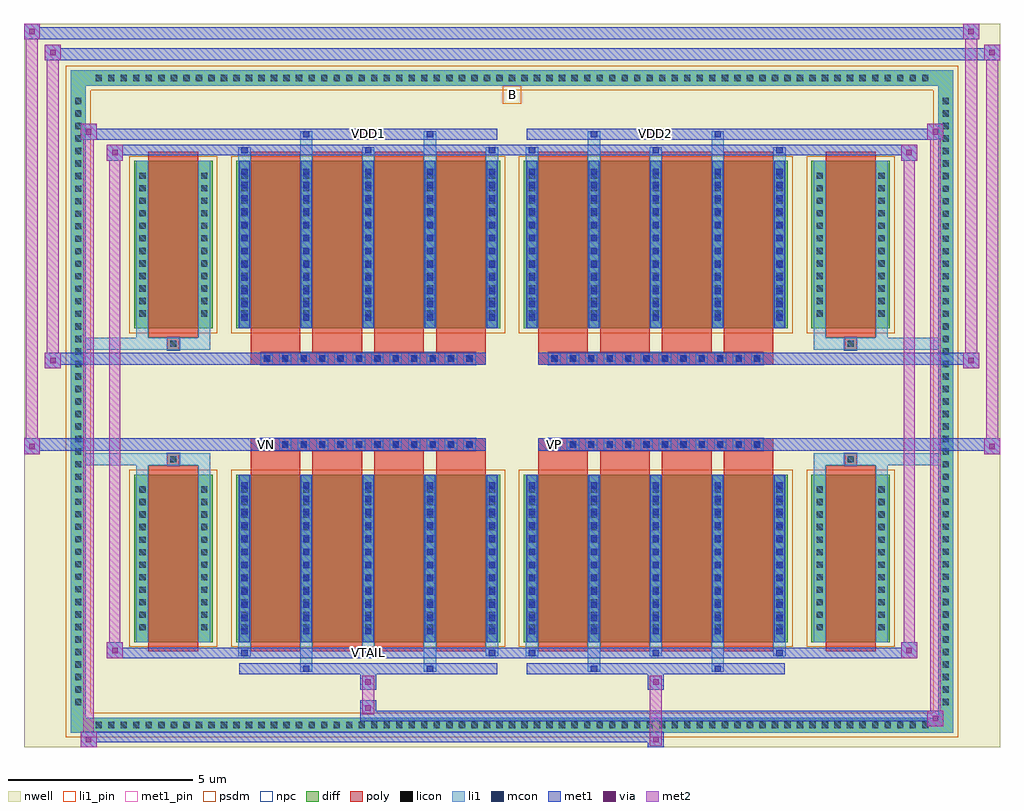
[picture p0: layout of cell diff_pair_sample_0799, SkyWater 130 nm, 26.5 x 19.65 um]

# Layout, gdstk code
import gdstk
lib = gdstk.Library(unit=1e-6, precision=5e-09)
def R(c, l, rs):  # rectangles x0, y0, x1, y1
    for r in rs: c.add(gdstk.rectangle(r[:2], r[2:], *l))
def A(c, l, x, y, w, h, nx, ny, dx, dy):  # array of equal rectangles
    R(c, l, [(x+i*dx, y+j*dy, x+i*dx+w, y+j*dy+h) for i in range(nx) for j in range(ny)])
def P(c, l, *ps):  # polygons
    for p in ps: c.add(gdstk.Polygon(p, *l))
nwell = (64, 20)
diff = (65, 20)
poly = (66, 20)
licon = (66, 44)
li1_pin = (67, 16)
li1 = (67, 20)
mcon = (67, 44)
met1_pin = (68, 16)
met1 = (68, 20)
via = (68, 44)
met2 = (69, 20)
psdm = (94, 20)
npc = (95, 20)

diff_pair_sample_0799 = lib.new_cell('diff_pair_sample_0799')
R(diff_pair_sample_0799, nwell, [(-13.25,-9.39,13.25,10.26), (-10.57,-7.58,-0.01,-0.8), (0.01,-7.58,10.57,-0.8), (-10.57,0.8,-0.01,7.58), (0.01,0.8,10.57,7.58)])
A(diff_pair_sample_0799, diff, -11.425, -8.99, 0.41, 0.41, 67, 2, 0.34, 17.57)
A(diff_pair_sample_0799, diff, -11.98, -8.365, 0.41, 0.41, 1, 49, 0, 0.34)
A(diff_pair_sample_0799, diff, 11.57, -8.365, 0.41, 0.41, 1, 49, 0, 0.34)
R(diff_pair_sample_0799, diff, [(-11.425,-8.99,11.425,-8.58), (-11.98,-8.365,-11.57,8.365), (11.57,-8.365,11.98,8.365), (-10.26,-6.535,-8.13,-1.985), (-7.49,-6.535,-0.32,-1.985), (0.32,-6.535,7.49,-1.985), (8.13,-6.535,10.26,-1.985), (-10.26,1.985,-8.13,6.535), (-7.49,1.985,-0.32,6.535), (0.32,1.985,7.49,6.535), (8.13,1.985,10.26,6.535), (-11.425,8.58,11.425,8.99)])
P(diff_pair_sample_0799, diff, [(11.98,8.99),(-11.98,8.99),(-11.98,-8.58),(-11.57,-8.58),(-11.57,8.58),(11.57,8.58),(11.57,-8.58),(-11.57,-8.58),(-11.98,-8.58),(-11.98,-8.99),(11.98,-8.99)])
A(diff_pair_sample_0799, poly, -7.1, -6.785, 1.35, 5.05, 4, 2, 1.68, 8.52)
A(diff_pair_sample_0799, poly, 0.71, -6.785, 1.35, 5.05, 4, 2, 1.68, 8.52)
A(diff_pair_sample_0799, poly, -7.1, -1.735, 1.35, 0.405, 4, 2, 1.68, 3.065)
A(diff_pair_sample_0799, poly, 0.71, -1.735, 1.35, 0.405, 4, 2, 1.68, 3.065)
A(diff_pair_sample_0799, poly, -6.82, -1.33, 0.33, 0.33, 12, 2, 0.5, 2.33)
A(diff_pair_sample_0799, poly, 0.99, -1.33, 0.33, 0.33, 12, 2, 0.5, 2.33)
R(diff_pair_sample_0799, poly, [(-9.87,-6.785,-8.52,-1.735), (8.52,-6.785,9.87,-1.735), (-9.36,-1.735,-9.03,-1.405), (-9.36,-1.735,-9.03,-1.405), (9.03,-1.735,9.36,-1.405), (9.03,-1.735,9.36,-1.405), (-7.1,-1.33,-0.71,-1), (0.71,-1.33,7.1,-1), (-7.1,1,-0.71,1.33), (0.71,1,7.1,1.33), (-9.36,1.405,-9.03,1.735), (-9.36,1.405,-9.03,1.735), (9.03,1.405,9.36,1.735), (9.03,1.405,9.36,1.735), (-9.87,1.735,-8.52,6.785), (8.52,1.735,9.87,6.785)])
A(diff_pair_sample_0799, licon, -11.305, -8.87, 0.17, 0.17, 67, 2, 0.34, 17.57)
A(diff_pair_sample_0799, licon, -11.86, -8.245, 0.17, 0.17, 1, 49, 0, 0.34)
A(diff_pair_sample_0799, licon, 11.69, -8.245, 0.17, 0.17, 1, 49, 0, 0.34)
A(diff_pair_sample_0799, licon, -10.12, -6.215, 0.17, 0.17, 1, 12, 0, 0.34)
A(diff_pair_sample_0799, licon, -8.44, -6.215, 0.17, 0.17, 1, 12, 0, 0.34)
A(diff_pair_sample_0799, licon, -7.35, -6.215, 0.17, 0.17, 5, 12, 1.68, 0.34)
A(diff_pair_sample_0799, licon, 0.46, -6.215, 0.17, 0.17, 5, 12, 1.68, 0.34)
A(diff_pair_sample_0799, licon, 8.27, -6.215, 0.17, 0.17, 1, 12, 0, 0.34)
A(diff_pair_sample_0799, licon, 9.95, -6.215, 0.17, 0.17, 1, 12, 0, 0.34)
A(diff_pair_sample_0799, licon, -6.74, -1.25, 0.17, 0.17, 12, 2, 0.5, 2.33)
A(diff_pair_sample_0799, licon, 1.07, -1.25, 0.17, 0.17, 12, 2, 0.5, 2.33)
A(diff_pair_sample_0799, licon, -10.12, 2.305, 0.17, 0.17, 1, 12, 0, 0.34)
A(diff_pair_sample_0799, licon, -8.44, 2.305, 0.17, 0.17, 1, 12, 0, 0.34)
A(diff_pair_sample_0799, licon, -7.35, 2.305, 0.17, 0.17, 5, 12, 1.68, 0.34)
A(diff_pair_sample_0799, licon, 0.46, 2.305, 0.17, 0.17, 5, 12, 1.68, 0.34)
A(diff_pair_sample_0799, licon, 8.27, 2.305, 0.17, 0.17, 1, 12, 0, 0.34)
A(diff_pair_sample_0799, licon, 9.95, 2.305, 0.17, 0.17, 1, 12, 0, 0.34)
R(diff_pair_sample_0799, licon, [(-9.28,-1.655,-9.11,-1.485), (9.11,-1.655,9.28,-1.485), (-9.28,1.485,-9.11,1.655), (9.11,1.485,9.28,1.655)])
R(diff_pair_sample_0799, li1_pin, [(-0.25,8.08,0.25,8.58)])
A(diff_pair_sample_0799, li1, -11.385, -8.95, 0.33, 0.33, 67, 2, 0.34, 17.57)
A(diff_pair_sample_0799, li1, -11.94, -8.325, 0.33, 0.33, 1, 49, 0, 0.34)
A(diff_pair_sample_0799, li1, 11.61, -8.325, 0.33, 0.33, 1, 49, 0, 0.34)
A(diff_pair_sample_0799, li1, -7.43, -6.91, 0.33, 0.375, 3, 2, 3.36, 13.445)
A(diff_pair_sample_0799, li1, -7.35, -6.91, 0.17, 0.17, 3, 2, 3.36, 13.65)
A(diff_pair_sample_0799, li1, 0.38, -6.91, 0.33, 0.375, 3, 2, 3.36, 13.445)
A(diff_pair_sample_0799, li1, 0.46, -6.91, 0.17, 0.17, 3, 2, 3.36, 13.65)
A(diff_pair_sample_0799, li1, -7.43, -6.535, 0.33, 4.55, 5, 2, 1.68, 8.52)
A(diff_pair_sample_0799, li1, 0.38, -6.535, 0.33, 4.55, 5, 2, 1.68, 8.52)
A(diff_pair_sample_0799, li1, -7.35, -6.325, 0.17, 0.17, 5, 12, 1.68, 0.36)
A(diff_pair_sample_0799, li1, -7.35, -6.325, 0.17, 4.13, 5, 2, 1.68, 8.52)
A(diff_pair_sample_0799, li1, 0.46, -6.325, 0.17, 0.17, 5, 12, 1.68, 0.36)
A(diff_pair_sample_0799, li1, 0.46, -6.325, 0.17, 4.13, 5, 2, 1.68, 8.52)
A(diff_pair_sample_0799, li1, -10.2, -6.295, 0.33, 0.33, 1, 12, 0, 0.34)
A(diff_pair_sample_0799, li1, -8.52, -6.295, 0.33, 0.33, 1, 12, 0, 0.34)
A(diff_pair_sample_0799, li1, -7.43, -6.295, 0.33, 0.33, 5, 12, 1.68, 0.34)
A(diff_pair_sample_0799, li1, 0.38, -6.295, 0.33, 0.33, 5, 12, 1.68, 0.34)
A(diff_pair_sample_0799, li1, 8.19, -6.295, 0.33, 0.33, 1, 12, 0, 0.34)
A(diff_pair_sample_0799, li1, 9.87, -6.295, 0.33, 0.33, 1, 12, 0, 0.34)
A(diff_pair_sample_0799, li1, -6.82, -1.33, 0.33, 0.33, 12, 2, 0.5, 2.33)
A(diff_pair_sample_0799, li1, 0.99, -1.33, 0.33, 0.33, 12, 2, 0.5, 2.33)
A(diff_pair_sample_0799, li1, -7.35, 2.195, 0.17, 0.17, 5, 12, 1.68, 0.36)
A(diff_pair_sample_0799, li1, 0.46, 2.195, 0.17, 0.17, 5, 12, 1.68, 0.36)
A(diff_pair_sample_0799, li1, -10.2, 2.225, 0.33, 0.33, 1, 12, 0, 0.34)
A(diff_pair_sample_0799, li1, -8.52, 2.225, 0.33, 0.33, 1, 12, 0, 0.34)
A(diff_pair_sample_0799, li1, -7.43, 2.225, 0.33, 0.33, 5, 12, 1.68, 0.34)
A(diff_pair_sample_0799, li1, 0.38, 2.225, 0.33, 0.33, 5, 12, 1.68, 0.34)
A(diff_pair_sample_0799, li1, 8.19, 2.225, 0.33, 0.33, 1, 12, 0, 0.34)
A(diff_pair_sample_0799, li1, 9.87, 2.225, 0.33, 0.33, 1, 12, 0, 0.34)
R(diff_pair_sample_0799, li1, [(-11.98,-8.99,-11.57,-8.58), (-11.98,-8.99,-11.57,-8.58), (-11.57,-8.99,11.57,-8.58), (11.57,-8.99,11.98,-8.58), (11.57,-8.99,11.98,-8.58), (-11.98,-8.58,-11.57,8.58), (11.57,-8.58,11.98,8.58), (-5.75,-7.34,-5.42,-6.535), (-5.67,-7.34,-5.5,-7.17), (-2.39,-7.34,-2.06,-6.535), (-2.31,-7.34,-2.14,-7.17), (2.06,-7.34,2.39,-6.535), (2.14,-7.34,2.31,-7.17), (5.42,-7.34,5.75,-6.535), (5.5,-7.34,5.67,-7.17), (-10.2,-6.535,-9.87,-1.985), (-8.52,-6.535,-8.19,-1.985), (8.19,-6.535,8.52,-1.985), (9.87,-6.535,10.2,-1.985), (-10.2,-1.985,-9.87,-1.405), (-8.52,-1.985,-8.19,-1.405), (8.19,-1.985,8.52,-1.405), (9.87,-1.985,10.2,-1.405), (-11.98,-1.735,-9.36,-1.405), (-10.2,-1.735,-9.36,-1.405), (-9.36,-1.735,-9.03,-1.405), (-9.03,-1.735,-8.19,-1.405), (8.19,-1.735,9.03,-1.405), (9.03,-1.735,9.36,-1.405), (9.03,-1.735,11.98,-1.405), (9.36,-1.735,10.2,-1.405), (-11.98,1.405,-9.36,1.735), (-10.2,1.405,-9.36,1.735), (-10.2,1.405,-9.87,1.985), (-9.36,1.405,-9.03,1.735), (-9.03,1.405,-8.19,1.735), (-8.52,1.405,-8.19,1.985), (8.19,1.405,9.03,1.735), (8.19,1.405,8.52,1.985), (9.03,1.405,9.36,1.735), (9.03,1.405,11.98,1.735), (9.36,1.405,10.2,1.735), (9.87,1.405,10.2,1.985), (-10.2,1.985,-9.87,6.535), (-8.52,1.985,-8.19,6.535), (8.19,1.985,8.52,6.535), (9.87,1.985,10.2,6.535), (-5.75,6.535,-5.42,7.34), (-2.39,6.535,-2.06,7.34), (2.06,6.535,2.39,7.34), (5.42,6.535,5.75,7.34), (-5.67,7.17,-5.5,7.34), (-2.31,7.17,-2.14,7.34), (2.14,7.17,2.31,7.34), (5.5,7.17,5.67,7.34), (-11.98,8.58,-11.57,8.99), (-11.98,8.58,-11.57,8.99), (-11.57,8.58,11.57,8.99), (11.57,8.58,11.98,8.99), (11.57,8.58,11.98,8.99)])
A(diff_pair_sample_0799, mcon, -7.35, -6.91, 0.17, 0.17, 3, 2, 3.36, 13.65)
A(diff_pair_sample_0799, mcon, 0.46, -6.91, 0.17, 0.17, 3, 2, 3.36, 13.65)
A(diff_pair_sample_0799, mcon, -7.35, -6.325, 0.17, 0.17, 5, 12, 1.68, 0.36)
A(diff_pair_sample_0799, mcon, 0.46, -6.325, 0.17, 0.17, 5, 12, 1.68, 0.36)
A(diff_pair_sample_0799, mcon, -6.74, -1.25, 0.17, 0.17, 12, 2, 0.5, 2.33)
A(diff_pair_sample_0799, mcon, 1.07, -1.25, 0.17, 0.17, 12, 2, 0.5, 2.33)
A(diff_pair_sample_0799, mcon, -7.35, 2.195, 0.17, 0.17, 5, 12, 1.68, 0.36)
A(diff_pair_sample_0799, mcon, 0.46, 2.195, 0.17, 0.17, 5, 12, 1.68, 0.36)
R(diff_pair_sample_0799, mcon, [(-5.67,-7.34,-5.5,-7.17), (-2.31,-7.34,-2.14,-7.17), (2.14,-7.34,2.31,-7.17), (5.5,-7.34,5.67,-7.17), (-5.67,7.17,-5.5,7.34), (-2.31,7.17,-2.14,7.34), (2.14,7.17,2.31,7.34), (5.5,7.17,5.67,7.34)])
R(diff_pair_sample_0799, met1_pin, [(-4.04,-6.95,-3.77,-6.68), (-6.79,-1.29,-6.52,-1.02), (1.02,-1.29,1.29,-1.02), (-4.04,7.13,-3.77,7.4), (3.77,7.13,4.04,7.4)])
A(diff_pair_sample_0799, met1, -7.41, -6.97, 0.29, 0.29, 3, 2, 3.36, 13.65)
A(diff_pair_sample_0799, met1, 0.4, -6.97, 0.29, 0.29, 3, 2, 3.36, 13.65)
A(diff_pair_sample_0799, met1, -7.41, -6.535, 0.29, 4.55, 5, 2, 1.68, 8.52)
A(diff_pair_sample_0799, met1, 0.4, -6.535, 0.29, 4.55, 5, 2, 1.68, 8.52)
A(diff_pair_sample_0799, met1, -7.41, -6.385, 0.29, 0.29, 5, 12, 1.68, 0.36)
A(diff_pair_sample_0799, met1, 0.4, -6.385, 0.29, 0.29, 5, 12, 1.68, 0.36)
A(diff_pair_sample_0799, met1, -6.8, -1.31, 0.29, 0.29, 12, 2, 0.5, 2.33)
A(diff_pair_sample_0799, met1, 1.01, -1.31, 0.29, 0.29, 12, 2, 0.5, 2.33)
A(diff_pair_sample_0799, met1, -7.41, 2.135, 0.29, 0.29, 5, 12, 1.68, 0.36)
A(diff_pair_sample_0799, met1, 0.4, 2.135, 0.29, 0.29, 5, 12, 1.68, 0.36)
R(diff_pair_sample_0799, met1, [(-11.71,-9.39,-11.28,-8.96), (3.69,-9.39,4.12,-8.96), (-11.71,-9.25,4.12,-8.96), (11.28,-8.82,11.71,-8.39), (-4.12,-8.68,11.71,-8.39), (-4.12,-8.54,-3.69,-8.11), (-4.12,-7.83,-3.69,-7.4), (3.69,-7.83,4.12,-7.4), (-7.41,-7.4,-0.4,-7.11), (-5.73,-7.4,-5.44,-7.11), (-2.37,-7.4,-2.08,-7.11), (0.4,-7.4,7.41,-7.11), (2.08,-7.4,2.37,-7.11), (5.44,-7.4,5.73,-7.11), (-11,-6.97,-10.57,-6.54), (-11,-6.97,-7.41,-6.68), (-7.41,-6.97,-0.4,-6.68), (-0.4,-6.97,0.4,-6.68), (0.4,-6.97,7.41,-6.68), (7.41,-6.97,11,-6.68), (10.57,-6.97,11,-6.54), (-13.25,-1.43,-12.82,-1), (12.82,-1.43,13.25,-1), (-13.25,-1.33,-0.71,-1), (-7.1,-1.33,-0.71,-1), (0.71,-1.33,7.1,-1), (0.71,-1.33,13.25,-1), (-12.68,0.9,-12.25,1.33), (12.25,0.9,12.68,1.33), (-12.68,1,-7.1,1.33), (-7.1,1,-0.71,1.33), (0.71,1,7.1,1.33), (7.1,1,12.68,1.33), (-11,6.54,-10.57,6.97), (10.57,6.54,11,6.97), (-11,6.68,-7.41,6.97), (-7.41,6.68,-0.4,6.97), (-0.4,6.68,0.4,6.97), (0.4,6.68,7.41,6.97), (7.41,6.68,11,6.97), (-11.71,7.11,-11.28,7.54), (-11.71,7.11,-7.41,7.4), (-7.41,7.11,-0.4,7.4), (-5.73,7.11,-5.44,7.4), (-2.37,7.11,-2.08,7.4), (0.4,7.11,7.41,7.4), (2.08,7.11,2.37,7.4), (5.44,7.11,5.73,7.4), (7.41,7.11,11.71,7.4), (11.28,7.11,11.71,7.54), (-12.68,9.26,-12.25,9.69), (-12.68,9.26,-10.57,9.59), (-10.57,9.26,10.57,9.59), (10.57,9.26,13.25,9.59), (12.82,9.26,13.25,9.69), (-13.25,9.83,-12.82,10.26), (-13.25,9.83,-10.57,10.16), (-10.57,9.83,10.57,10.16), (10.57,9.83,12.68,10.16), (12.25,9.83,12.68,10.26)])
R(diff_pair_sample_0799, via, [(-11.57,-9.25,-11.42,-9.1), (3.83,-9.25,3.98,-9.1), (11.42,-8.68,11.57,-8.53), (-3.98,-8.4,-3.83,-8.25), (-3.98,-7.69,-3.83,-7.54), (3.83,-7.69,3.98,-7.54), (-10.86,-6.83,-10.71,-6.68), (10.71,-6.83,10.86,-6.68), (-13.11,-1.29,-12.96,-1.14), (12.96,-1.29,13.11,-1.14), (-12.54,1.04,-12.39,1.19), (12.39,1.04,12.54,1.19), (-10.86,6.68,-10.71,6.83), (10.71,6.68,10.86,6.83), (-11.57,7.25,-11.42,7.4), (11.42,7.25,11.57,7.4), (-12.54,9.4,-12.39,9.55), (12.96,9.4,13.11,9.55), (-13.11,9.97,-12.96,10.12), (12.39,9.97,12.54,10.12)])
R(diff_pair_sample_0799, met2, [(-11.71,-9.39,-11.28,-8.96), (-11.64,-9.39,-11.35,7.54), (-11.35,-9.39,-11.28,-8.96), (-11.66,-9.34,-11.33,-9.01), (3.74,-9.34,4.07,-9.01), (3.74,-9.01,4.07,-7.78), (11.28,-8.82,11.71,-8.39), (11.35,-8.82,11.64,7.54), (11.64,-8.82,11.71,-8.39), (11.33,-8.77,11.66,-8.44), (-4.07,-8.49,-3.74,-8.16), (-4.07,-8.16,-3.74,-7.78), (-4.07,-7.78,-3.74,-7.45), (3.74,-7.78,4.07,-7.45), (-11,-6.97,-10.57,-6.54), (-10.93,-6.97,-10.64,6.97), (-10.64,-6.97,-10.57,-6.54), (10.57,-6.97,11,-6.54), (10.64,-6.97,10.93,6.97), (10.93,-6.97,11,-6.54), (-10.95,-6.92,-10.62,-6.59), (10.62,-6.92,10.95,-6.59), (-13.25,-1.43,-12.82,-1), (-13.2,-1.43,-12.87,10.26), (-12.87,-1.43,-12.82,-1), (12.82,-1.43,13.25,-1), (12.87,-1.43,13.2,9.69), (13.2,-1.43,13.25,-1), (-13.2,-1.38,-12.87,-1.05), (12.87,-1.38,13.2,-1.05), (-12.68,0.9,-12.25,1.33), (-12.63,0.9,-12.3,9.69), (-12.3,0.9,-12.25,1.33), (12.25,0.9,12.68,1.33), (12.3,0.9,12.63,10.26), (12.63,0.9,12.68,1.33), (-12.63,0.95,-12.3,1.28), (12.3,0.95,12.63,1.28), (-11,6.54,-10.57,6.97), (-10.64,6.54,-10.57,6.97), (10.57,6.54,11,6.97), (10.93,6.54,11,6.97), (-10.95,6.59,-10.62,6.92), (10.62,6.59,10.95,6.92), (-11.71,7.11,-11.28,7.54), (-11.35,7.11,-11.28,7.54), (11.28,7.11,11.71,7.54), (11.64,7.11,11.71,7.54), (-11.66,7.16,-11.33,7.49), (11.33,7.16,11.66,7.49), (-12.68,9.26,-12.25,9.69), (-12.3,9.26,-12.25,9.69), (12.82,9.26,13.25,9.69), (13.2,9.26,13.25,9.69), (-12.63,9.31,-12.3,9.64), (12.87,9.31,13.2,9.64), (-13.25,9.83,-12.82,10.26), (-12.87,9.83,-12.82,10.26), (12.25,9.83,12.68,10.26), (12.63,9.83,12.68,10.26), (-13.2,9.88,-12.87,10.21), (12.3,9.88,12.63,10.21)])
R(diff_pair_sample_0799, psdm, [(-10.39,-6.665,-8,-1.855), (-7.62,-6.665,-0.19,-1.855), (0.19,-6.665,7.62,-1.855), (8,-6.665,10.39,-1.855), (-10.39,1.855,-8,6.665), (-7.62,1.855,-0.19,6.665), (0.19,1.855,7.62,6.665), (8,1.855,10.39,6.665)])
P(diff_pair_sample_0799, psdm, [(12.11,9.12),(-12.11,9.12),(-12.11,-8.45),(-11.44,-8.45),(-11.44,8.45),(11.44,8.45),(11.44,-8.45),(-11.44,-8.45),(-12.11,-8.45),(-12.11,-9.12),(12.11,-9.12)])
A(diff_pair_sample_0799, npc, -6.84, -1.35, 0.37, 0.37, 12, 2, 0.5, 2.33)
A(diff_pair_sample_0799, npc, 0.97, -1.35, 0.37, 0.37, 12, 2, 0.5, 2.33)
R(diff_pair_sample_0799, npc, [(-9.38,-1.755,-9.01,-1.385), (9.01,-1.755,9.38,-1.385), (-6.84,-1.35,-5.97,-0.98), (-6.84,-1.35,-5.97,-0.98), (-6.34,-1.35,-5.47,-0.98), (-6.34,-1.35,-5.47,-0.98), (-5.84,-1.35,-4.97,-0.98), (-5.84,-1.35,-4.97,-0.98), (-5.34,-1.35,-4.47,-0.98), (-5.34,-1.35,-4.47,-0.98), (-4.84,-1.35,-3.97,-0.98), (-4.84,-1.35,-3.97,-0.98), (-4.34,-1.35,-3.47,-0.98), (-4.34,-1.35,-3.47,-0.98), (-3.84,-1.35,-2.97,-0.98), (-3.84,-1.35,-2.97,-0.98), (-3.34,-1.35,-2.47,-0.98), (-3.34,-1.35,-2.47,-0.98), (-2.84,-1.35,-1.97,-0.98), (-2.84,-1.35,-1.97,-0.98), (-2.34,-1.35,-1.47,-0.98), (-2.34,-1.35,-1.47,-0.98), (-1.84,-1.35,-0.97,-0.98), (-1.84,-1.35,-0.97,-0.98), (0.97,-1.35,1.84,-0.98), (0.97,-1.35,1.84,-0.98), (1.47,-1.35,2.34,-0.98), (1.47,-1.35,2.34,-0.98), (1.97,-1.35,2.84,-0.98), (1.97,-1.35,2.84,-0.98), (2.47,-1.35,3.34,-0.98), (2.47,-1.35,3.34,-0.98), (2.97,-1.35,3.84,-0.98), (2.97,-1.35,3.84,-0.98), (3.47,-1.35,4.34,-0.98), (3.47,-1.35,4.34,-0.98), (3.97,-1.35,4.84,-0.98), (3.97,-1.35,4.84,-0.98), (4.47,-1.35,5.34,-0.98), (4.47,-1.35,5.34,-0.98), (4.97,-1.35,5.84,-0.98), (4.97,-1.35,5.84,-0.98), (5.47,-1.35,6.34,-0.98), (5.47,-1.35,6.34,-0.98), (5.97,-1.35,6.84,-0.98), (5.97,-1.35,6.84,-0.98), (-6.84,0.98,-5.97,1.35), (-6.84,0.98,-5.97,1.35), (-6.34,0.98,-5.47,1.35), (-6.34,0.98,-5.47,1.35), (-5.84,0.98,-4.97,1.35), (-5.84,0.98,-4.97,1.35), (-5.34,0.98,-4.47,1.35), (-5.34,0.98,-4.47,1.35), (-4.84,0.98,-3.97,1.35), (-4.84,0.98,-3.97,1.35), (-4.34,0.98,-3.47,1.35), (-4.34,0.98,-3.47,1.35), (-3.84,0.98,-2.97,1.35), (-3.84,0.98,-2.97,1.35), (-3.34,0.98,-2.47,1.35), (-3.34,0.98,-2.47,1.35), (-2.84,0.98,-1.97,1.35), (-2.84,0.98,-1.97,1.35), (-2.34,0.98,-1.47,1.35), (-2.34,0.98,-1.47,1.35), (-1.84,0.98,-0.97,1.35), (-1.84,0.98,-0.97,1.35), (0.97,0.98,1.84,1.35), (0.97,0.98,1.84,1.35), (1.47,0.98,2.34,1.35), (1.47,0.98,2.34,1.35), (1.97,0.98,2.84,1.35), (1.97,0.98,2.84,1.35), (2.47,0.98,3.34,1.35), (2.47,0.98,3.34,1.35), (2.97,0.98,3.84,1.35), (2.97,0.98,3.84,1.35), (3.47,0.98,4.34,1.35), (3.47,0.98,4.34,1.35), (3.97,0.98,4.84,1.35), (3.97,0.98,4.84,1.35), (4.47,0.98,5.34,1.35), (4.47,0.98,5.34,1.35), (4.97,0.98,5.84,1.35), (4.97,0.98,5.84,1.35), (5.47,0.98,6.34,1.35), (5.47,0.98,6.34,1.35), (5.97,0.98,6.84,1.35), (5.97,0.98,6.84,1.35), (-9.38,1.385,-9.01,1.755), (9.01,1.385,9.38,1.755)])
diff_pair_sample_0799.add(gdstk.Label('VTAIL', (-3.905,-6.815), layer=68, texttype=5))
diff_pair_sample_0799.add(gdstk.Label('VN', (-6.655,-1.155), layer=68, texttype=5))
diff_pair_sample_0799.add(gdstk.Label('VP', (1.155,-1.155), layer=68, texttype=5))
diff_pair_sample_0799.add(gdstk.Label('B', (0,8.33), layer=67, texttype=5))
diff_pair_sample_0799.add(gdstk.Label('VDD2', (3.905,7.265), layer=68, texttype=5))
diff_pair_sample_0799.add(gdstk.Label('VDD1', (-3.905,7.265), layer=68, texttype=5))

lib.write_gds('diff_pair_sample_0799.gds')
